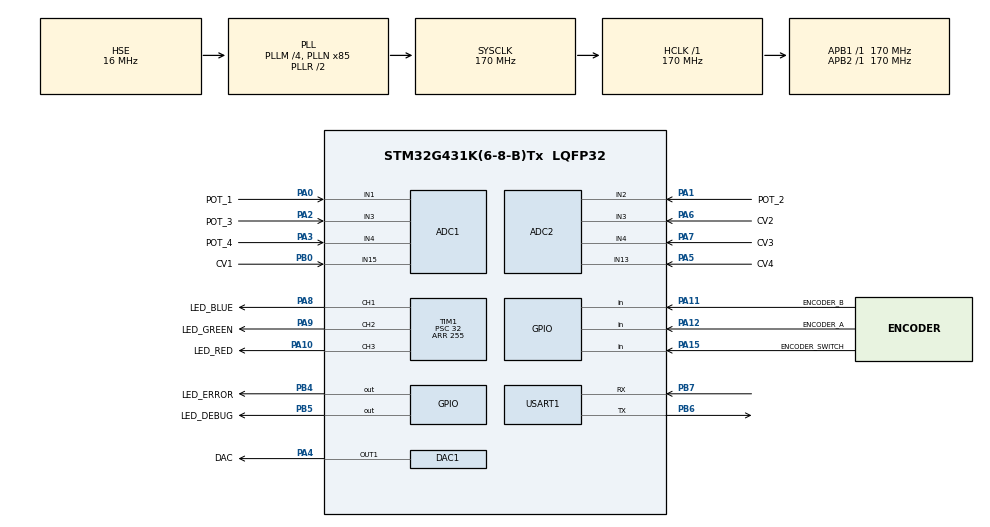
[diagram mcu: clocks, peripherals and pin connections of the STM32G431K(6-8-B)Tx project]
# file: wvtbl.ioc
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ADC1.Channel-0\#ChannelRegularConversion=ADC_CHANNEL_1
ADC1.Channel-1\#ChannelRegularConversion=ADC_CHANNEL_3
ADC1.Channel-2\#ChannelRegularConversion=ADC_CHANNEL_4
ADC1.Channel-3\#ChannelRegularConversion=ADC_CHANNEL_15
ADC1.ClockPrescaler=ADC_CLOCK_SYNC_PCLK_DIV4
ADC1.DMAAccessModeView=ENABLE
ADC1.DMAContinuousRequests=ENABLE
ADC1.EOCSelection=ADC_EOC_SEQ_CONV
ADC1.ExternalTrigConv=ADC_EXTERNALTRIG_T6_TRGO
ADC1.Mode=ADC_DUALMODE_REGSIMULT
ADC1.NbrOfConversion=4
ADC1.NbrOfConversionFlag=1
ADC1.OffsetNumber-0\#ChannelRegularConversion=ADC_OFFSET_NONE
ADC1.OffsetNumber-1\#ChannelRegularConversion=ADC_OFFSET_NONE
ADC1.OffsetNumber-2\#ChannelRegularConversion=ADC_OFFSET_NONE
ADC1.OffsetNumber-3\#ChannelRegularConversion=ADC_OFFSET_NONE
ADC1.Overrun=ADC_OVR_DATA_OVERWRITTEN
ADC1.Rank-0\#ChannelRegularConversion=1
ADC1.Rank-1\#ChannelRegularConversion=2
ADC1.Rank-2\#ChannelRegularConversion=3
ADC1.Rank-3\#ChannelRegularConversion=4
ADC1.SamplingTime-0\#ChannelRegularConversion=ADC_SAMPLETIME_47CYCLES_5
ADC1.SamplingTime-1\#ChannelRegularConversion=ADC_SAMPLETIME_47CYCLES_5
ADC1.SamplingTime-2\#ChannelRegularConversion=ADC_SAMPLETIME_47CYCLES_5
ADC1.SamplingTime-3\#ChannelRegularConversion=ADC_SAMPLETIME_2CYCLES_5
ADC1.master=1
ADC2.Channel-0\#ChannelRegularConversion=ADC_CHANNEL_2
ADC2.Channel-1\#ChannelRegularConversion=ADC_CHANNEL_3
ADC2.Channel-2\#ChannelRegularConversion=ADC_CHANNEL_4
ADC2.Channel-3\#ChannelRegularConversion=ADC_CHANNEL_13
ADC2.DMAAccessModeView=ENABLE
ADC2.EOCSelection=ADC_EOC_SEQ_CONV
ADC2.Mode=ADC_DUALMODE_REGSIMULT
ADC2.NbrOfConversion=4
ADC2.NbrOfConversionFlag=1
ADC2.OffsetNumber-0\#ChannelRegularConversion=ADC_OFFSET_NONE
ADC2.OffsetNumber-1\#ChannelRegularConversion=ADC_OFFSET_NONE
ADC2.OffsetNumber-2\#ChannelRegularConversion=ADC_OFFSET_NONE
ADC2.OffsetNumber-3\#ChannelRegularConversion=ADC_OFFSET_NONE
ADC2.Overrun=ADC_OVR_DATA_OVERWRITTEN
ADC2.Rank-0\#ChannelRegularConversion=1
ADC2.Rank-1\#ChannelRegularConversion=2
ADC2.Rank-2\#ChannelRegularConversion=3
ADC2.Rank-3\#ChannelRegularConversion=4
ADC2.SamplingTime-0\#ChannelRegularConversion=ADC_SAMPLETIME_47CYCLES_5
ADC2.SamplingTime-1\#ChannelRegularConversion=ADC_SAMPLETIME_47CYCLES_5
ADC2.SamplingTime-2\#ChannelRegularConversion=ADC_SAMPLETIME_47CYCLES_5
ADC2.SamplingTime-3\#ChannelRegularConversion=ADC_SAMPLETIME_2CYCLES_5
DAC1.DAC_SampleAndHold-DAC_OUT1=DAC_SAMPLEANDHOLD_DISABLE
DAC1.DAC_Trigger_OUT1-DAC_OUT1=DAC_TRIGGER_T7_TRGO
Dma.ADC1.0.Direction=DMA_PERIPH_TO_MEMORY
Dma.ADC1.0.EventEnable=DISABLE
Dma.ADC1.0.Instance=DMA1_Channel1
Dma.ADC1.0.MemDataAlignment=DMA_MDATAALIGN_WORD
Dma.ADC1.0.MemInc=DMA_MINC_ENABLE
Dma.ADC1.0.Mode=DMA_CIRCULAR
Dma.ADC1.0.PeriphDataAlignment=DMA_PDATAALIGN_WORD
Dma.ADC1.0.PeriphInc=DMA_PINC_DISABLE
Dma.ADC1.0.Polarity=HAL_DMAMUX_REQ_GEN_RISING
Dma.ADC1.0.Priority=DMA_PRIORITY_HIGH
Dma.ADC1.0.RequestNumber=1
Dma.ADC1.0.SignalID=NONE
Dma.ADC1.0.SyncEnable=DISABLE
Dma.ADC1.0.SyncPolarity=HAL_DMAMUX_SYNC_NO_EVENT
Dma.ADC1.0.SyncRequestNumber=1
Dma.ADC1.0.SyncSignalID=NONE
Dma.DAC1_CH1.1.Direction=DMA_MEMORY_TO_PERIPH
Dma.DAC1_CH1.1.EventEnable=DISABLE
Dma.DAC1_CH1.1.Instance=DMA1_Channel2
Dma.DAC1_CH1.1.MemDataAlignment=DMA_MDATAALIGN_WORD
Dma.DAC1_CH1.1.MemInc=DMA_MINC_ENABLE
Dma.DAC1_CH1.1.Mode=DMA_CIRCULAR
Dma.DAC1_CH1.1.PeriphDataAlignment=DMA_PDATAALIGN_WORD
Dma.DAC1_CH1.1.PeriphInc=DMA_PINC_DISABLE
Dma.DAC1_CH1.1.Polarity=HAL_DMAMUX_REQ_GEN_RISING
Dma.DAC1_CH1.1.Priority=DMA_PRIORITY_VERY_HIGH
Dma.DAC1_CH1.1.RequestNumber=1
Dma.DAC1_CH1.1.SignalID=NONE
Dma.DAC1_CH1.1.SyncEnable=DISABLE
Dma.DAC1_CH1.1.SyncPolarity=HAL_DMAMUX_SYNC_NO_EVENT
Dma.DAC1_CH1.1.SyncRequestNumber=1
Dma.DAC1_CH1.1.SyncSignalID=NONE
Dma.Request0=ADC1
Dma.Request1=DAC1_CH1
Mcu.Family=STM32G4
Mcu.Name=STM32G431K(6-8-B)Tx
Mcu.Package=LQFP32
NVIC.ADC1_2_IRQn=true\:5\:0\:true\:false\:true\:true\:true\:true
NVIC.DMA1_Channel1_IRQn=true\:2\:0\:true\:false\:true\:false\:true\:true
NVIC.DMA1_Channel2_IRQn=true\:0\:0\:false\:false\:true\:false\:true\:true
NVIC.PriorityGroup=NVIC_PRIORITYGROUP_4
PA0.GPIO_Label=POT_1
PA0.Mode=IN1-Single-Ended
PA0.Signal=ADC1_IN1
PA1.GPIO_Label=POT_2
PA1.Mode=IN2-Single-Ended
PA1.Signal=ADC2_IN2
PA10.GPIO_Label=LED_RED
PA10.Signal=S_TIM1_CH3
PA11.GPIO_Label=ENCODER_B
PA11.Signal=GPIO_Input
PA12.GPIO_Label=ENCODER_A
PA12.Signal=GPIO_Input
PA13.Mode=Trace_Asynchronous_SW
PA13.Signal=SYS_JTMS-SWDIO
PA14.Mode=Trace_Asynchronous_SW
PA14.Signal=SYS_JTCK-SWCLK
PA15.GPIO_Label=ENCODER_SWITCH
PA15.Signal=GPIO_Input
PA2.GPIO_Label=POT_3
PA2.Mode=IN3-Single-Ended
PA2.Signal=ADC1_IN3
PA3.GPIO_Label=POT_4
PA3.Mode=IN4-Single-Ended
PA3.Signal=ADC1_IN4
PA4.GPIO_Label=DAC
PA4.Signal=SharedAnalog_PA4
PA5.GPIO_Label=CV4
PA5.Mode=IN13-Single-Ended
PA5.Signal=ADC2_IN13
PA6.GPIO_Label=CV2
PA6.Mode=IN3-Single-Ended
PA6.Signal=ADC2_IN3
PA7.GPIO_Label=CV3
PA7.Mode=IN4-Single-Ended
PA7.Signal=ADC2_IN4
PA8.GPIO_Label=LED_BLUE
PA8.Signal=S_TIM1_CH1
PA9.GPIO_Label=LED_GREEN
PA9.Signal=S_TIM1_CH2
PB0.GPIO_Label=CV1
PB0.Mode=IN15-Single-Ended
PB0.Signal=ADC1_IN15
PB3.Mode=Trace_Asynchronous_SW
PB3.Signal=SYS_JTDO-SWO
PB4.GPIO_Label=LED_ERROR
PB4.Signal=GPIO_Output
PB5.GPIO_Label=LED_DEBUG
PB5.Signal=GPIO_Output
PB6.Mode=Asynchronous
PB6.Signal=USART1_TX
PB7.Mode=Asynchronous
PB7.Signal=USART1_RX
PF0-OSC_IN.Mode=HSE-External-Oscillator
PF0-OSC_IN.Signal=RCC_OSC_IN
PF1-OSC_OUT.Mode=HSE-External-Oscillator
PF1-OSC_OUT.Signal=RCC_OSC_OUT
ProjectManager.HeapSize=0x200
ProjectManager.StackSize=0x400
ProjectManager.TargetToolchain=STM32CubeIDE
RCC.ADC12Freq_Value=170000000
RCC.AHBFreq_Value=170000000
RCC.APB1Freq_Value=170000000
RCC.APB1TimFreq_Value=170000000
RCC.APB2Freq_Value=170000000
RCC.APB2TimFreq_Value=170000000
RCC.CortexFreq_Value=170000000
RCC.EXTERNAL_CLOCK_VALUE=12288000
RCC.HCLKFreq_Value=170000000
RCC.HSE_VALUE=16000000
RCC.HSI48_VALUE=48000000
RCC.HSI_VALUE=16000000
RCC.LSE_VALUE=32768
RCC.PLLM=RCC_PLLM_DIV4
RCC.PLLN=85
RCC.PLLSourceVirtual=RCC_PLLSOURCE_HSE
RCC.SYSCLKFreq_VALUE=170000000
RCC.SYSCLKSource=RCC_SYSCLKSOURCE_PLLCLK
RCC.USBFreq_Value=170000000
RCC.VCOOutputFreq_Value=340000000
SH.S_TIM1_CH1.0=TIM1_CH1,PWM Generation1 CH1
SH.S_TIM1_CH2.0=TIM1_CH2,PWM Generation2 CH2
SH.S_TIM1_CH3.0=TIM1_CH3,PWM Generation3 CH3
SH.SharedAnalog_PA4.0=ADC2_IN17
SH.SharedAnalog_PA4.1=DAC1_OUT1,DAC_OUT1
TIM1.Channel-PWM\ Generation1\ CH1=TIM_CHANNEL_1
TIM1.Channel-PWM\ Generation2\ CH2=TIM_CHANNEL_2
TIM1.Channel-PWM\ Generation3\ CH3=TIM_CHANNEL_3
TIM1.PeriodNoDither=255
TIM1.Prescaler=32
TIM1.PulseNoDither_1=255
TIM1.PulseNoDither_2=255
TIM1.PulseNoDither_3=255
TIM6.PeriodNoDither=999
TIM6.Prescaler=169
TIM6.TIM_MasterOutputTrigger=TIM_TRGO_UPDATE
TIM7.PeriodNoDither=3541
TIM7.Prescaler=0
TIM7.TIM_MasterOutputTrigger=TIM_TRGO_UPDATE
USART1.VirtualMode-Asynchronous=VM_ASYNC
VP_SYS_VS_DBSignals.Mode=DisableDeadBatterySignals
VP_TIM6_VS_ClockSourceINT.Mode=Enable_Timer
VP_TIM7_VS_ClockSourceINT.Mode=Enable_Timer
board=custom

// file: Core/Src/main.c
/* USER CODE BEGIN Header */
/**
  ******************************************************************************
  * @file           : main.c
  * @brief          : Main program body
  ******************************************************************************
  * @attention
  *
  * Copyright (c) 2023 STMicroelectronics.
  * All rights reserved.
  *
  * This software is licensed under terms that can be found in the LICENSE file
  * in the root directory of this software component.
  * If no LICENSE file comes with this software, it is provided AS-IS.
  *
  ******************************************************************************
  */
/* USER CODE END Header */
#include "main.h"
#include "adc.h"
#include "dac.h"
#include "dma.h"
#include "tim.h"
#include "usart.h"
#include "gpio.h"

/* USER CODE BEGIN Includes */
#include <stdio.h>

#include "drv/led_pwm.h"
#include "drv/encoder.h"
#include "drv/analog.h"
#include "drv/eeprom.h"

#include "dsp/dsp.h"
#include "dsp/wave.h"

//TODOs
//Handle multiple modes wavetable/wavemixer/calibration with the encoder push button.
/* USER CODE END Includes */

/* USER CODE BEGIN PTD */
typedef struct eeprom_save_struct
{
  int32_t encoder;
  float truc;
  float machin;
} eeprom_save_t;
/* USER CODE END PTD */

/* USER CODE BEGIN PD */
#define TIM_CHANNEL_BLUE TIM_CHANNEL_1
#define TIM_CHANNEL_GREEN TIM_CHANNEL_2
#define TIM_CHANNEL_RED TIM_CHANNEL_3

//#define ADC_BUFFER_LENGTH_WORDS (ADC_BUFFER_LENGTH/2)
/* USER CODE END PD */

/* USER CODE BEGIN PV */
h_led_pwm_t h_led_red = {
  .timer_handle = &htim1,
  .timer_channel = TIM_CHANNEL_RED
};

h_led_pwm_t h_led_green = {
  .timer_handle = &htim1,
  .timer_channel = TIM_CHANNEL_GREEN
};

h_led_pwm_t h_led_blue = {
  .timer_handle = &htim1,
  .timer_channel = TIM_CHANNEL_BLUE
};

h_encoder_t h_encoder = {
  .A_GPIOx = ENCODER_A_GPIO_Port,
  .A_GPIO_pin = ENCODER_A_Pin,
  .B_GPIOx = ENCODER_B_GPIO_Port,
  .B_GPIO_pin = ENCODER_B_Pin
};

h_analog_t h_analog = {
  .adc_handles = {&hadc1, &hadc2},
  .adc_timer_handle = &htim6,
  .dac_handle = &hdac1,
  .dac_timer_handle = &htim7,
  .dac_channel = DAC_CHANNEL_1
};

h_dsp_t h_dsp = {
  .sample_frequency = 47995.48277809147f
};

static eeprom_save_t eeprom_save;

/* USER CODE END PV */

void SystemClock_Config(void);

/* USER CODE BEGIN 0 */
int _write(int file, char *ptr, int len)
{
	(void) file;

	HAL_UART_Transmit(&huart1, (uint8_t *)ptr, (uint16_t) len, HAL_MAX_DELAY);

	return len;
}

// TODO Should be placed in drv/something
void read_switch(void)
{
	static uint8_t state_SW = 0;

	if (state_SW == 0)
	{
		if (HAL_GPIO_ReadPin(ENCODER_SWITCH_GPIO_Port, ENCODER_SWITCH_Pin) == GPIO_PIN_SET)
		{
      eeprom_save.encoder = encoder_value(&h_encoder);
      printf("Saving pitch %d...\r\n", eeprom_save.encoder);
      if(eeprom_write((void*)&eeprom_save, sizeof(eeprom_save_t)) == HAL_OK)
      {
        printf("Pitch saved\r\n");
        }
      else
      {
        printf("Error saving pitch in eeprom\r\n");
      }

			state_SW = 1;
		}
	}
	else if (state_SW == 1)
	{
		if (HAL_GPIO_ReadPin(ENCODER_SWITCH_GPIO_Port, ENCODER_SWITCH_Pin) == GPIO_PIN_RESET)
		{
			state_SW = 0;
		}
	}
}

// Called every 1 ms
void HAL_ADC_ConvCpltCallback(ADC_HandleTypeDef *hadc)
{
  if (ADC1 == hadc->Instance)
  {
    HAL_GPIO_WritePin(LED_DEBUG_GPIO_Port, LED_DEBUG_Pin, GPIO_PIN_SET);

    encoder_process(&h_encoder);
		read_switch();
    //Process analog inputs
    //Params (Potentiometers and encoder)
    uint16_t x_param        = 4095 - analog_get_adc(&h_analog, ANALOG_ADC_X_PARAM_INDEX);
    uint16_t y_param        = 4095 - analog_get_adc(&h_analog, ANALOG_ADC_Y_PARAM_INDEX);
    uint16_t x_attv_param   = 4095 - analog_get_adc(&h_analog, ANALOG_ADC_X_ATTV_INDEX);
    uint16_t y_attv_param   = 4095 - analog_get_adc(&h_analog, ANALOG_ADC_Y_ATTV_INDEX);
    int32_t encoder         = encoder_value(&h_encoder);
    h_dsp.params[X_PARAM]       = x_param;
    h_dsp.params[Y_PARAM]       = y_param;
    h_dsp.params[X_ATTV_PARAM]  = x_attv_param;
    h_dsp.params[Y_ATTV_PARAM]  = y_attv_param;
    h_dsp.params[PITCH_PARAM]   = encoder;

    //Inputs (IN jacks)
    uint16_t x_in     = 4095 - analog_get_adc(&h_analog, ANALOG_ADC_X_INPUT_INDEX);
    uint16_t y_in     = 4095 - analog_get_adc(&h_analog, ANALOG_ADC_Y_INPUT_INDEX);
    uint16_t pitch    = 4095 - analog_get_adc(&h_analog, ANALOG_ADC_PITCH_INPUT_INDEX);  // C0 = 2V = 2376LSB ; C2 = 4V = 2814LSB
    h_dsp.inputs[X_INPUT] = x_in;
    h_dsp.inputs[Y_INPUT] = y_in;
    h_dsp.inputs[PITCH_INPUT] = pitch;

    led_pwm_set_brightness(&h_led_red, x_param >> 4);
    led_pwm_set_brightness(&h_led_green, encoder + 127);
    led_pwm_set_brightness(&h_led_blue, y_param >> 4);

    HAL_GPIO_WritePin(LED_DEBUG_GPIO_Port, LED_DEBUG_Pin, GPIO_PIN_RESET);
  }
}

void HAL_DAC_ConvHalfCpltCallbackCh1(DAC_HandleTypeDef *hdac)
{
  if (DAC1 == hdac->Instance)
  {
    HAL_GPIO_WritePin(LED_ERROR_GPIO_Port, LED_ERROR_Pin, GPIO_PIN_SET);

    dsp_process(&h_dsp, h_analog.dac_buffer, DAC_BUFFER_SIZE/2);

    HAL_GPIO_WritePin(LED_ERROR_GPIO_Port, LED_ERROR_Pin, GPIO_PIN_RESET);
  }
}

void HAL_DAC_ConvCpltCallbackCh1(DAC_HandleTypeDef *hdac)
{
  if (DAC1 == hdac->Instance)
  {
    HAL_GPIO_WritePin(LED_ERROR_GPIO_Port, LED_ERROR_Pin, GPIO_PIN_SET);

    dsp_process(&h_dsp, &h_analog.dac_buffer[DAC_BUFFER_SIZE/2], DAC_BUFFER_SIZE/2);

    HAL_GPIO_WritePin(LED_ERROR_GPIO_Port, LED_ERROR_Pin, GPIO_PIN_RESET);
  }
}

/* USER CODE END 0 */

int main(void)
{

  /* MCU Configuration--------------------------------------------------------*/

  /* Reset of all peripherals, Initializes the Flash interface and the Systick. */
  HAL_Init();

  /* Configure the system clock */
  SystemClock_Config();

  /* Initialize all configured peripherals */
  MX_GPIO_Init();
  MX_DMA_Init();
  MX_ADC1_Init();
  MX_ADC2_Init();
  MX_DAC1_Init();
  MX_TIM1_Init();
  MX_USART1_UART_Init();
  MX_TIM6_Init();
  MX_TIM7_Init();
  /* USER CODE BEGIN 2 */
  printf("===== WVTBL =====\r\n");

  encoder_init(&h_encoder);
  dsp_init(&h_dsp);

  if (0 != led_pwm_init(&h_led_red))
  {
    Error_Handler();
  }
  if (0 != led_pwm_init(&h_led_green))
  {
    Error_Handler();
  }
  if (0 != led_pwm_init(&h_led_blue))
  {
    Error_Handler();
  }
  if (0 != analog_init(&h_analog))
  {
    Error_Handler();
  }
  /* USER CODE END 2 */

  /* Infinite loop */
  /* USER CODE BEGIN WHILE */

  /* TODO
  // We want to be able to calibrate the v/oct input
  // If encoder is pressed, enter calibration mode
  // Blink one color (eg. blue) while calibrating, say 1V (C2)
  // Waits second encoder press
  // We might light green LED for 1 or 2 seconds to send feedback to the user
  // Blink another color (eg. red) while calibrating, say 3V (C4)
  */
  eeprom_read((void*)&eeprom_save, sizeof(eeprom_save_t));
  printf("Encoder value: %ld\r\n", eeprom_save.encoder);
  encoder_set(&h_encoder, eeprom_save.encoder);

  while (1)
  {
#ifdef DEBUG_ENCODER
    static int32_t value = 0;

    if (h_encoder.value != value)
    {
      value = h_encoder.value;
      printf("Encoder = %ld\r\n", value);
    }
#endif // DEBUG_ENCODER

    //printf( "X_in= %ld    |  Y_in= %ld\r\n", h_dsp.inputs[X_INPUT], h_dsp.inputs[Y_INPUT]);
    printf("Xatt_pot= %ld | Yatt_pot= %ld\r\n\r\n", h_dsp.params[X_ATTV_PARAM], h_dsp.params[Y_ATTV_PARAM]);

    //HAL_Delay(1000);

    /* USER CODE END WHILE */

  }
}

void SystemClock_Config(void)
{
  RCC_OscInitTypeDef RCC_OscInitStruct = {0};
  RCC_ClkInitTypeDef RCC_ClkInitStruct = {0};

  /** Configure the main internal regulator output voltage
  */
  HAL_PWREx_ControlVoltageScaling(PWR_REGULATOR_VOLTAGE_SCALE1_BOOST);

  /** Initializes the RCC Oscillators according to the specified parameters
  * in the RCC_OscInitTypeDef structure.
  */
  RCC_OscInitStruct.OscillatorType = RCC_OSCILLATORTYPE_HSE;
  RCC_OscInitStruct.HSEState = RCC_HSE_ON;
  RCC_OscInitStruct.PLL.PLLState = RCC_PLL_ON;
  RCC_OscInitStruct.PLL.PLLSource = RCC_PLLSOURCE_HSE;
  RCC_OscInitStruct.PLL.PLLM = RCC_PLLM_DIV4;
  RCC_OscInitStruct.PLL.PLLN = 85;
  RCC_OscInitStruct.PLL.PLLP = RCC_PLLP_DIV2;
  RCC_OscInitStruct.PLL.PLLQ = RCC_PLLQ_DIV2;
  RCC_OscInitStruct.PLL.PLLR = RCC_PLLR_DIV2;
  if (HAL_RCC_OscConfig(&RCC_OscInitStruct) != HAL_OK)
  {
    Error_Handler();
  }

  /** Initializes the CPU, AHB and APB buses clocks
  */
  RCC_ClkInitStruct.ClockType = RCC_CLOCKTYPE_HCLK|RCC_CLOCKTYPE_SYSCLK
                              |RCC_CLOCKTYPE_PCLK1|RCC_CLOCKTYPE_PCLK2;
  RCC_ClkInitStruct.SYSCLKSource = RCC_SYSCLKSOURCE_PLLCLK;
  RCC_ClkInitStruct.AHBCLKDivider = RCC_SYSCLK_DIV1;
  RCC_ClkInitStruct.APB1CLKDivider = RCC_HCLK_DIV1;
  RCC_ClkInitStruct.APB2CLKDivider = RCC_HCLK_DIV1;

  if (HAL_RCC_ClockConfig(&RCC_ClkInitStruct, FLASH_LATENCY_4) != HAL_OK)
  {
    Error_Handler();
  }
}

void Error_Handler(void)
{
  /* USER CODE BEGIN Error_Handler_Debug */
  /* User can add his own implementation to report the HAL error return state */
  __disable_irq();

  HAL_GPIO_WritePin(LED_ERROR_GPIO_Port, LED_ERROR_Pin, GPIO_PIN_SET);

  while (1)
  {
    //printf("Error\r\n, HAL error code: %ld\r\n", HAL_GetError());
    HAL_Delay(1000);
  }
  /* USER CODE END Error_Handler_Debug */
}
